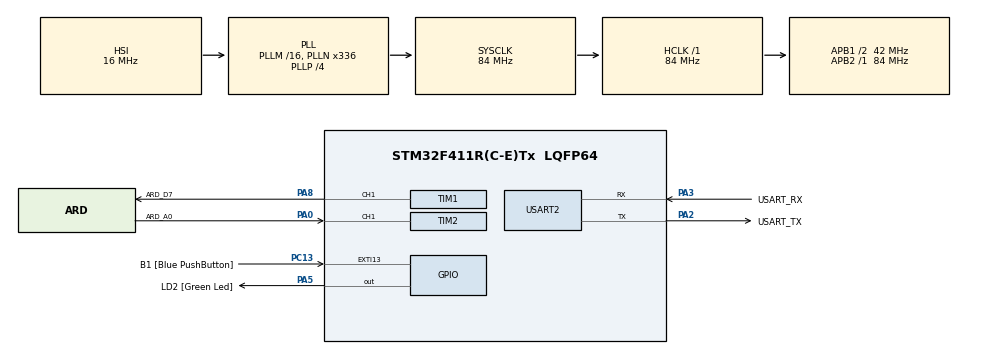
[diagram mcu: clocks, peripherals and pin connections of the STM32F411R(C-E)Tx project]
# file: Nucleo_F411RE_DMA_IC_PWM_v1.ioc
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Dma.Request0=TIM2_CH1
Dma.TIM2_CH1.0.Direction=DMA_PERIPH_TO_MEMORY
Dma.TIM2_CH1.0.FIFOMode=DMA_FIFOMODE_DISABLE
Dma.TIM2_CH1.0.Instance=DMA1_Stream5
Dma.TIM2_CH1.0.MemDataAlignment=DMA_MDATAALIGN_WORD
Dma.TIM2_CH1.0.MemInc=DMA_MINC_ENABLE
Dma.TIM2_CH1.0.Mode=DMA_CIRCULAR
Dma.TIM2_CH1.0.PeriphDataAlignment=DMA_PDATAALIGN_WORD
Dma.TIM2_CH1.0.PeriphInc=DMA_PINC_DISABLE
Dma.TIM2_CH1.0.Priority=DMA_PRIORITY_LOW
Mcu.Family=STM32F4
Mcu.Name=STM32F411R(C-E)Tx
Mcu.Package=LQFP64
NVIC.DMA1_Stream5_IRQn=true\:0\:0\:false\:false\:true\:false\:true
NVIC.PriorityGroup=NVIC_PRIORITYGROUP_0
PA0-WKUP.GPIO_Label=ARD_A0
PA0-WKUP.Signal=S_TIM2_CH1_ETR
PA13.GPIO_Label=TMS
PA13.Mode=Serial_Wire
PA13.Signal=SYS_JTMS-SWDIO
PA14.GPIO_Label=TCK
PA14.Mode=Serial_Wire
PA14.Signal=SYS_JTCK-SWCLK
PA2.GPIO_Label=USART_TX
PA2.Mode=Asynchronous
PA2.Signal=USART2_TX
PA3.GPIO_Label=USART_RX
PA3.Mode=Asynchronous
PA3.Signal=USART2_RX
PA5.GPIO_Label=LD2 [Green Led]
PA5.Signal=GPIO_Output
PA8.GPIO_Label=ARD_D7
PA8.Signal=S_TIM1_CH1
PB3.GPIO_Label=SWO
PB3.Signal=SYS_JTDO-SWO
PC13-ANTI_TAMP.GPIO_Label=B1 [Blue PushButton]
PC13-ANTI_TAMP.GPIO_ModeDefaultEXTI=GPIO_MODE_IT_FALLING
PC13-ANTI_TAMP.Signal=GPXTI13
PC14-OSC32_IN.Mode=LSE-External-Oscillator
PC14-OSC32_IN.Signal=RCC_OSC32_IN
PC15-OSC32_OUT.Mode=LSE-External-Oscillator
PC15-OSC32_OUT.Signal=RCC_OSC32_OUT
PH0\ -\ OSC_IN.Mode=HSE-External-Clock-Source
PH0\ -\ OSC_IN.Signal=RCC_OSC_IN
PH1\ -\ OSC_OUT.Mode=HSE-External-Clock-Source
PH1\ -\ OSC_OUT.Signal=RCC_OSC_OUT
ProjectManager.HeapSize=0x200
ProjectManager.StackSize=0x400
ProjectManager.TargetToolchain=STM32CubeIDE
RCC.48MHZClocksFreq_Value=84000000
RCC.AHBFreq_Value=84000000
RCC.APB1CLKDivider=RCC_HCLK_DIV2
RCC.APB1Freq_Value=42000000
RCC.APB1TimFreq_Value=84000000
RCC.APB2Freq_Value=84000000
RCC.APB2TimFreq_Value=84000000
RCC.CortexFreq_Value=84000000
RCC.FLatency-AdvancedSettings=FLASH_LATENCY_2
RCC.HCLKFreq_Value=84000000
RCC.HSE_VALUE=8000000
RCC.HSI_VALUE=16000000
RCC.PLLN=336
RCC.PLLP=RCC_PLLP_DIV4
RCC.SYSCLKFreq_VALUE=84000000
RCC.SYSCLKSource=RCC_SYSCLKSOURCE_PLLCLK
RCC.VCOOutputFreq_Value=336000000
SH.S_TIM1_CH1.0=TIM1_CH1,PWM Generation1 CH1
SH.S_TIM2_CH1_ETR.0=TIM2_CH1,Input_Capture1_from_TI1
TIM1.Channel-PWM\ Generation1\ CH1=TIM_CHANNEL_1
TIM1.Period=12799
TIM1.Prescaler=1249
TIM1.Pulse-PWM\ Generation1\ CH1=6399
TIM2.Channel-Input_Capture1_from_TI1=TIM_CHANNEL_1
TIM2.Prescaler=0
USART2.VirtualMode=VM_ASYNC
VP_TIM1_VS_ClockSourceINT.Mode=Internal
VP_TIM2_VS_ClockSourceINT.Mode=Internal
board=NUCLEO-F411RE

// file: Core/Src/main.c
/* USER CODE BEGIN Header */
/**
  ******************************************************************************
  * @file           : main.c
  * @brief          : Main program body
  ******************************************************************************
  * @attention
  *
  * <h2><center>&copy; Copyright (c) 2022 STMicroelectronics.
  * All rights reserved.</center></h2>
  *
  * This software component is licensed by ST under BSD 3-Clause license,
  * the "License"; You may not use this file except in compliance with the
  * License. You may obtain a copy of the License at:
  *                        opensource.org/licenses/BSD-3-Clause
  *
  ******************************************************************************
  */
/* USER CODE END Header */
#include "main.h"

/* USER CODE BEGIN Includes */
#include <stdio.h>
#include <math.h>
#include <string.h> /* strlen */
#include <inttypes.h>
/* USER CODE END Includes */

TIM_HandleTypeDef htim1;
TIM_HandleTypeDef htim2;
DMA_HandleTypeDef hdma_tim2_ch1;

UART_HandleTypeDef huart2;

/* USER CODE BEGIN PV */
#define TX_BUF_DIM    256
char buffer[TX_BUF_DIM];

uint8_t  odrVals[] = { 0x0, 0xFF };

uint32_t captures[2];
volatile uint8_t  captureDone = 0;
volatile float frequency = 0;
volatile float period = 0;
/* USER CODE END PV */

void SystemClock_Config(void);
static void MX_GPIO_Init(void);
static void MX_DMA_Init(void);
static void MX_TIM2_Init(void);
static void MX_USART2_UART_Init(void);
static void MX_TIM1_Init(void);
/* USER CODE BEGIN PFP */

static float getFrequency(void);
/* USER CODE END PFP */

/* USER CODE BEGIN 0 */

// WARNING UART1 is connected to st-link
// Properties -> Settings -> MCU_Settings -> select use float with printf
/*
 * USART2, BaudRate = 115200, WordLength = UART_WORDLENGTH_8B, StopBits = UART_STOPBITS_1;
 * */
int _write(int file, char *ptr, int len)
{
	HAL_UART_Transmit(&huart2,(uint8_t *)ptr, len, 10);
	return len;
}
/* USER CODE END 0 */

int main(void)
{
  /* USER CODE BEGIN 1 */
	  uint32_t diffCapture = 0;
  /* USER CODE END 1 */

  /* MCU Configuration--------------------------------------------------------*/

  /* Reset of all peripherals, Initializes the Flash interface and the Systick. */
  HAL_Init();

  /* Configure the system clock */
  SystemClock_Config();

  /* Initialize all configured peripherals */
  MX_GPIO_Init();
  MX_DMA_Init();
  MX_TIM2_Init();
  MX_USART2_UART_Init();
  MX_TIM1_Init();
  /* USER CODE BEGIN 2 */

  printf("start\n");
  // TIM1_freq =80 MHz
  // T = (ARR+1)*(PSC+1)/80e6 =0.2s  avec PSC=1249 ARR=12799
  // Pulse=6399

  if ( HAL_OK != HAL_TIM_PWM_Start (&htim1, TIM_CHANNEL_1) )
	  Error_Handler();

  if ( HAL_OK != HAL_TIM_IC_Start_DMA(&htim2, TIM_CHANNEL_1, (uint32_t*) captures, 2) )
	  Error_Handler();
  /* USER CODE END 2 */

  /* Infinite loop */
  while (1)
  {

    /* USER CODE BEGIN 3 */

//#define DEVINFO
#ifdef DEVINFO
		 uint32_t CCR_value = __HAL_TIM_GetCompare(&htim1, TIM_CHANNEL_1);
		 uint32_t TIM1_count = __HAL_TIM_GetCounter(&htim1);
		 GPIO_PinState PA8_state=HAL_GPIO_ReadPin (GPIOA, GPIO_PIN_8);
		 printf("CCR_value %lu count %lu PA8_state %d\n", CCR_value, TIM1_count, PA8_state);
#endif
		 //
		 if (captureDone != 0) {
		 	      if (captures[1] >= captures[0])
		 	        diffCapture = captures[1] - captures[0];
		 	      else
		 	        diffCapture = (htim2.Instance->ARR - captures[0]) + captures[1];

		 // TIM2 Clock = PCLK1
		 	      printf("TIM2_Clock : %lu\r\n", HAL_RCC_GetPCLK1Freq());

		 // ATTENTION prefacteur 2.0 voir les clocks sur CubeMX
		 	      frequency = 2.0*HAL_RCC_GetPCLK1Freq()/ (htim2.Instance->PSC + 1.0);
		 	      frequency = (float) frequency / (float) diffCapture;

		 	      printf("diffCapture: %lu\r\n", diffCapture);
		 	      printf("frequency: %f Hz\r\n", frequency);
		 	      period=1./frequency;
		 	      printf("period:    %f s\r\n", period);
		 	      captureDone=0;
		 	    }
  }
  /* USER CODE END 3 */
}

void SystemClock_Config(void)
{
  RCC_OscInitTypeDef RCC_OscInitStruct = {0};
  RCC_ClkInitTypeDef RCC_ClkInitStruct = {0};

  /** Configure the main internal regulator output voltage
  */
  __HAL_RCC_PWR_CLK_ENABLE();
  __HAL_PWR_VOLTAGESCALING_CONFIG(PWR_REGULATOR_VOLTAGE_SCALE1);
  /** Initializes the RCC Oscillators according to the specified parameters
  * in the RCC_OscInitTypeDef structure.
  */
  RCC_OscInitStruct.OscillatorType = RCC_OSCILLATORTYPE_HSI;
  RCC_OscInitStruct.HSIState = RCC_HSI_ON;
  RCC_OscInitStruct.HSICalibrationValue = RCC_HSICALIBRATION_DEFAULT;
  RCC_OscInitStruct.PLL.PLLState = RCC_PLL_ON;
  RCC_OscInitStruct.PLL.PLLSource = RCC_PLLSOURCE_HSI;
  RCC_OscInitStruct.PLL.PLLM = 16;
  RCC_OscInitStruct.PLL.PLLN = 336;
  RCC_OscInitStruct.PLL.PLLP = RCC_PLLP_DIV4;
  RCC_OscInitStruct.PLL.PLLQ = 4;
  if (HAL_RCC_OscConfig(&RCC_OscInitStruct) != HAL_OK)
  {
    Error_Handler();
  }
  /** Initializes the CPU, AHB and APB buses clocks
  */
  RCC_ClkInitStruct.ClockType = RCC_CLOCKTYPE_HCLK|RCC_CLOCKTYPE_SYSCLK
                              |RCC_CLOCKTYPE_PCLK1|RCC_CLOCKTYPE_PCLK2;
  RCC_ClkInitStruct.SYSCLKSource = RCC_SYSCLKSOURCE_PLLCLK;
  RCC_ClkInitStruct.AHBCLKDivider = RCC_SYSCLK_DIV1;
  RCC_ClkInitStruct.APB1CLKDivider = RCC_HCLK_DIV2;
  RCC_ClkInitStruct.APB2CLKDivider = RCC_HCLK_DIV1;

  if (HAL_RCC_ClockConfig(&RCC_ClkInitStruct, FLASH_LATENCY_2) != HAL_OK)
  {
    Error_Handler();
  }
}

static void MX_TIM1_Init(void)
{

  TIM_ClockConfigTypeDef sClockSourceConfig = {0};
  TIM_MasterConfigTypeDef sMasterConfig = {0};
  TIM_OC_InitTypeDef sConfigOC = {0};
  TIM_BreakDeadTimeConfigTypeDef sBreakDeadTimeConfig = {0};

  htim1.Instance = TIM1;
  htim1.Init.Prescaler = 1249;
  htim1.Init.CounterMode = TIM_COUNTERMODE_UP;
  htim1.Init.Period = 12799;
  htim1.Init.ClockDivision = TIM_CLOCKDIVISION_DIV1;
  htim1.Init.RepetitionCounter = 0;
  htim1.Init.AutoReloadPreload = TIM_AUTORELOAD_PRELOAD_DISABLE;
  if (HAL_TIM_Base_Init(&htim1) != HAL_OK)
  {
    Error_Handler();
  }
  sClockSourceConfig.ClockSource = TIM_CLOCKSOURCE_INTERNAL;
  if (HAL_TIM_ConfigClockSource(&htim1, &sClockSourceConfig) != HAL_OK)
  {
    Error_Handler();
  }
  if (HAL_TIM_PWM_Init(&htim1) != HAL_OK)
  {
    Error_Handler();
  }
  sMasterConfig.MasterOutputTrigger = TIM_TRGO_RESET;
  sMasterConfig.MasterSlaveMode = TIM_MASTERSLAVEMODE_DISABLE;
  if (HAL_TIMEx_MasterConfigSynchronization(&htim1, &sMasterConfig) != HAL_OK)
  {
    Error_Handler();
  }
  sConfigOC.OCMode = TIM_OCMODE_PWM1;
  sConfigOC.Pulse = 6399;
  sConfigOC.OCPolarity = TIM_OCPOLARITY_HIGH;
  sConfigOC.OCNPolarity = TIM_OCNPOLARITY_HIGH;
  sConfigOC.OCFastMode = TIM_OCFAST_DISABLE;
  sConfigOC.OCIdleState = TIM_OCIDLESTATE_RESET;
  sConfigOC.OCNIdleState = TIM_OCNIDLESTATE_RESET;
  if (HAL_TIM_PWM_ConfigChannel(&htim1, &sConfigOC, TIM_CHANNEL_1) != HAL_OK)
  {
    Error_Handler();
  }
  sBreakDeadTimeConfig.OffStateRunMode = TIM_OSSR_DISABLE;
  sBreakDeadTimeConfig.OffStateIDLEMode = TIM_OSSI_DISABLE;
  sBreakDeadTimeConfig.LockLevel = TIM_LOCKLEVEL_OFF;
  sBreakDeadTimeConfig.DeadTime = 0;
  sBreakDeadTimeConfig.BreakState = TIM_BREAK_DISABLE;
  sBreakDeadTimeConfig.BreakPolarity = TIM_BREAKPOLARITY_HIGH;
  sBreakDeadTimeConfig.AutomaticOutput = TIM_AUTOMATICOUTPUT_DISABLE;
  if (HAL_TIMEx_ConfigBreakDeadTime(&htim1, &sBreakDeadTimeConfig) != HAL_OK)
  {
    Error_Handler();
  }
  HAL_TIM_MspPostInit(&htim1);

}

static void MX_TIM2_Init(void)
{

  TIM_ClockConfigTypeDef sClockSourceConfig = {0};
  TIM_MasterConfigTypeDef sMasterConfig = {0};
  TIM_IC_InitTypeDef sConfigIC = {0};

  htim2.Instance = TIM2;
  htim2.Init.Prescaler = 0;
  htim2.Init.CounterMode = TIM_COUNTERMODE_UP;
  htim2.Init.Period = 4294967295;
  htim2.Init.ClockDivision = TIM_CLOCKDIVISION_DIV1;
  htim2.Init.AutoReloadPreload = TIM_AUTORELOAD_PRELOAD_DISABLE;
  if (HAL_TIM_Base_Init(&htim2) != HAL_OK)
  {
    Error_Handler();
  }
  sClockSourceConfig.ClockSource = TIM_CLOCKSOURCE_INTERNAL;
  if (HAL_TIM_ConfigClockSource(&htim2, &sClockSourceConfig) != HAL_OK)
  {
    Error_Handler();
  }
  if (HAL_TIM_IC_Init(&htim2) != HAL_OK)
  {
    Error_Handler();
  }
  sMasterConfig.MasterOutputTrigger = TIM_TRGO_RESET;
  sMasterConfig.MasterSlaveMode = TIM_MASTERSLAVEMODE_DISABLE;
  if (HAL_TIMEx_MasterConfigSynchronization(&htim2, &sMasterConfig) != HAL_OK)
  {
    Error_Handler();
  }
  sConfigIC.ICPolarity = TIM_INPUTCHANNELPOLARITY_RISING;
  sConfigIC.ICSelection = TIM_ICSELECTION_DIRECTTI;
  sConfigIC.ICPrescaler = TIM_ICPSC_DIV1;
  sConfigIC.ICFilter = 0;
  if (HAL_TIM_IC_ConfigChannel(&htim2, &sConfigIC, TIM_CHANNEL_1) != HAL_OK)
  {
    Error_Handler();
  }

}

static void MX_USART2_UART_Init(void)
{

  huart2.Instance = USART2;
  huart2.Init.BaudRate = 115200;
  huart2.Init.WordLength = UART_WORDLENGTH_8B;
  huart2.Init.StopBits = UART_STOPBITS_1;
  huart2.Init.Parity = UART_PARITY_NONE;
  huart2.Init.Mode = UART_MODE_TX_RX;
  huart2.Init.HwFlowCtl = UART_HWCONTROL_NONE;
  huart2.Init.OverSampling = UART_OVERSAMPLING_16;
  if (HAL_UART_Init(&huart2) != HAL_OK)
  {
    Error_Handler();
  }

}

static void MX_DMA_Init(void)
{

  /* DMA controller clock enable */
  __HAL_RCC_DMA1_CLK_ENABLE();

  /* DMA interrupt init */
  /* DMA1_Stream5_IRQn interrupt configuration */
  HAL_NVIC_SetPriority(DMA1_Stream5_IRQn, 0, 0);
  HAL_NVIC_EnableIRQ(DMA1_Stream5_IRQn);

}

static void MX_GPIO_Init(void)
{
  GPIO_InitTypeDef GPIO_InitStruct = {0};

  /* GPIO Ports Clock Enable */
  __HAL_RCC_GPIOC_CLK_ENABLE();
  __HAL_RCC_GPIOH_CLK_ENABLE();
  __HAL_RCC_GPIOA_CLK_ENABLE();
  __HAL_RCC_GPIOB_CLK_ENABLE();

  /*Configure GPIO pin Output Level */
  HAL_GPIO_WritePin(LD2_GPIO_Port, LD2_Pin, GPIO_PIN_RESET);

  /*Configure GPIO pin : B1_Pin */
  GPIO_InitStruct.Pin = B1_Pin;
  GPIO_InitStruct.Mode = GPIO_MODE_IT_FALLING;
  GPIO_InitStruct.Pull = GPIO_NOPULL;
  HAL_GPIO_Init(B1_GPIO_Port, &GPIO_InitStruct);

  /*Configure GPIO pin : LD2_Pin */
  GPIO_InitStruct.Pin = LD2_Pin;
  GPIO_InitStruct.Mode = GPIO_MODE_OUTPUT_PP;
  GPIO_InitStruct.Pull = GPIO_NOPULL;
  GPIO_InitStruct.Speed = GPIO_SPEED_FREQ_LOW;
  HAL_GPIO_Init(LD2_GPIO_Port, &GPIO_InitStruct);

}

/* USER CODE BEGIN 4 */

void HAL_TIM_IC_CaptureCallback(TIM_HandleTypeDef *htim) {
  if (htim->Channel == HAL_TIM_ACTIVE_CHANNEL_1) {
    captureDone = 1;
  }
}

static float getFrequency(){
	  captureDone=0;

	  HAL_TIM_IC_Start_DMA(&htim2, TIM_CHANNEL_1, (uint32_t*) captures, 2);
	  while(!captureDone) {}
	  HAL_TIM_IC_Stop_DMA(&htim2, TIM_CHANNEL_1);

	  uint32_t diffCapture = 0;
	  if (captures[1] >= captures[0])
	        diffCapture = captures[1] - captures[0];
	  else
	        diffCapture = (htim2.Instance->ARR - captures[0]) + captures[1] + 1;

// TIM2 Clock = PCLK1
	  float frequency = HAL_RCC_GetPCLK1Freq()/ (htim2.Instance->PSC + 1.0);
	  frequency = (float) frequency / (float) diffCapture;

	return frequency;
}

/* USER CODE END 4 */

void Error_Handler(void)
{
  __disable_irq();
  while (1)
  {
  }
}

/************************ (C) COPYRIGHT STMicroelectronics *****END OF FILE****/
